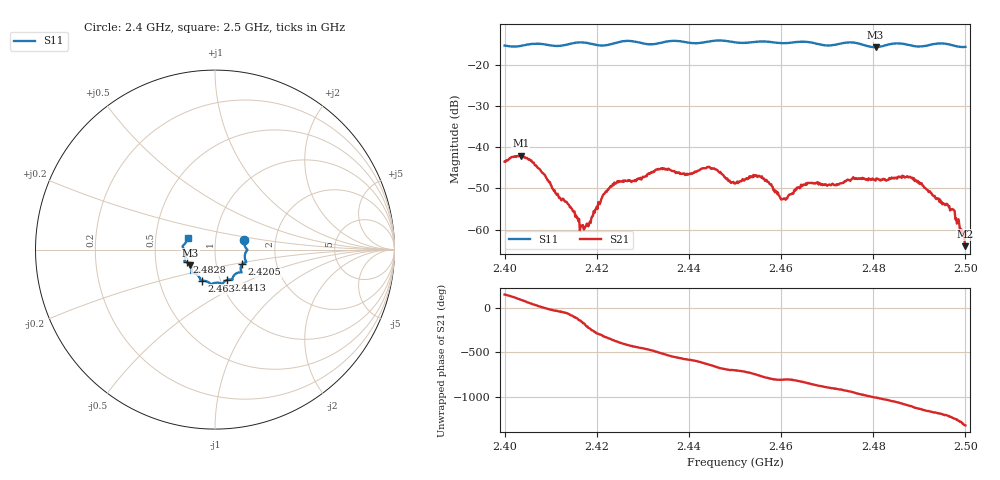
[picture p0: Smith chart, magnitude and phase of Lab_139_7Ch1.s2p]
# Hz S RI R 50
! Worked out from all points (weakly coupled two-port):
!   601 points, 2.4 GHz to 2.5 GHz, reference 50 ohm
!   highest |S21| = -42.06 dB at 2.4035 GHz (marker M1); lowest = -64.0 dB at 2.5 GHz (marker M2)
!   lowest |S11| = -15.7 dB at 2.4805 GHz (marker M3), VSWR 1.39, Z = 37.3 - j6.69 ohm
!   |S11| at or under -10 dB: start of sweep to end of sweep
!   S12 and S22 are empty: the file has one direction only
!   S11 on the Smith chart (normalised r, x): 2.4 GHz: 1.38, +0.15; 2.4205 GHz: 1.34, -0.22; 2.4413 GHz: 1.08, -0.38; 2.463 GHz: 0.82, -0.29; 2.4828 GHz: 0.72, -0.10; 2.5 GHz: 0.73, +0.10
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2.4e9  0.1629 0.0526  -0.00605 0.00288  0 0  0 0
2.4035e9  0.1687 0.0139  -0.000729 0.00785  0 0  0 0
2.408167e9  0.1786 -0.00376  0.00483 0.000822  0 0  0 0
2.416667e9  0.1736 -0.0697  -0.000997 -0.000509  0 0  0 0
2.418167e9  0.1684 -0.0715  -0.000811 0.000738  0 0  0 0
2.4205e9  0.152 -0.0811  0.000908 0.00186  0 0  0 0
2.424e9  0.1439 -0.1145  0.00353 -0.000738  0 0  0 0
2.433333e9  0.1004 -0.1514  -0.00418 -0.00351  0 0  0 0
2.441333e9  0.0676 -0.1696  -0.00291 0.00418  0 0  0 0
2.444833e9  0.044 -0.189  0.00149 0.00525  0 0  0 0
2.45e9  0.0246 -0.1857  0.00346 0.00109  0 0  0 0
2.4555e9  -0.0188 -0.191  0.003 -0.00322  0 0  0 0
2.4605e9  -0.051 -0.1757  1.72e-05 -0.00236  0 0  0 0
2.463e9  -0.0721 -0.1735  -0.000301 -0.00295  0 0  0 0
2.466667e9  -0.0815 -0.1672  -0.00281 -0.00237  0 0  0 0
2.4805e9  -0.1383 -0.0872  0.00148 0.00364  0 0  0 0
2.482833e9  -0.1584 -0.0702  0.00284 0.00272  0 0  0 0
2.483333e9  -0.1623 -0.0684  0.00318 0.00247  0 0  0 0
2.487667e9  -0.1668 -0.0507  0.00402 -0.00154  0 0  0 0
2.4905e9  -0.1662 -0.0158  0.0016 -0.0033  0 0  0 0
2.497167e9  -0.1699 0.0301  -0.00168 -0.000609  0 0  0 0
2.5e9  -0.1521 0.064  -0.000242 0.000583  0 0  0 0
